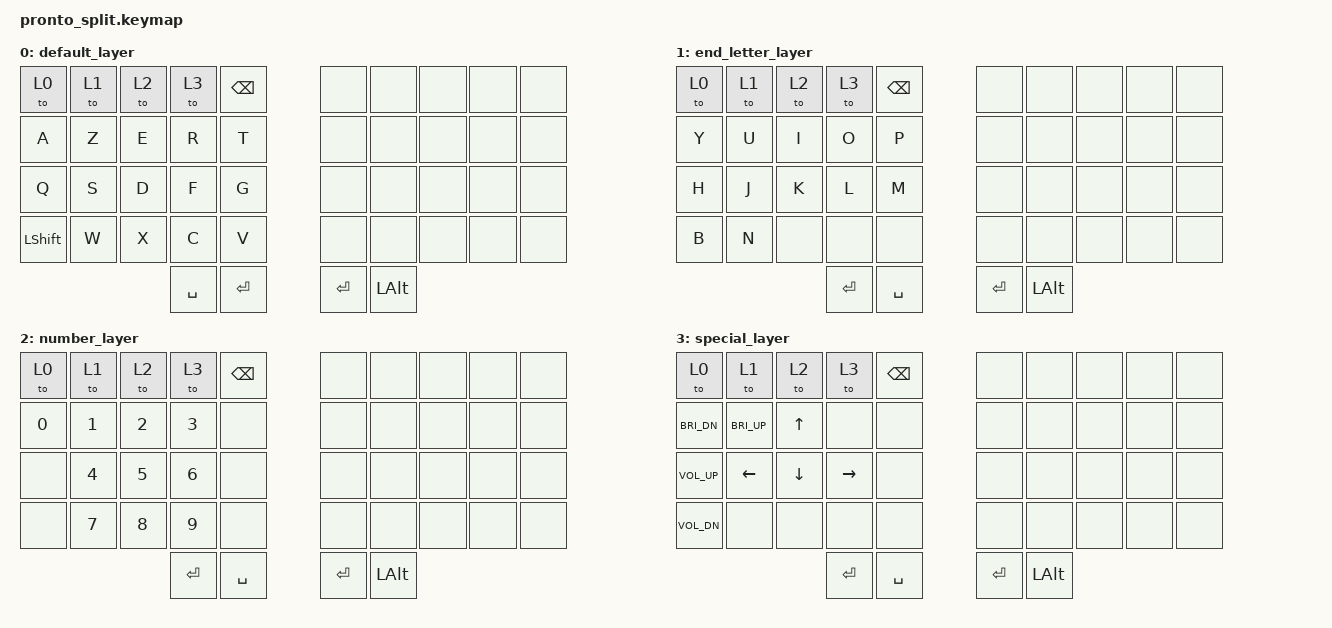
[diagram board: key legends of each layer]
#include <behaviors.dtsi>
#include <dt-bindings/zmk/keys.h>

/ {
    keymap {
        compatible = "zmk,keymap";

        default_layer { // Layer 0
            
            // ||   |   |   |   |   ||       ||   |   |   |   |   ||
            // || A | Z | E | R | T ||       || Y | U | I | O | P ||
            // || Q | S | D | F | G ||       || H | J | K | L | M ||
            // || ↑ | W | X | C | V ||       || B | N | , | . | ^ ||
            //         || ctr | spc ||       || ent | alt ||


            bindings = <
               &to 0 &to 1 &to 2 &to 3 &kp BSPC       &none &none &none &none &none
               &kp A &kp Z &kp E &kp R &kp T        &none &none &none &none &none
               &kp Q &kp S &kp D &kp F &kp G        &none &none &none &none &none
               &kp LSHFT &kp W &kp X &kp C &kp V    &none &none &none &none &none
                            &kp SPACE  &kp ENTER     &kp ENTER &kp LALT
            >;
        };

        end_letter_layer { //Layer 1
            bindings = <
               &to 0 &to 1 &to 2 &to 3 &kp BSPC       &none &none &none &none &none
               &kp Y &kp U &kp I &kp O &kp P        &none &none &none &none &none
               &kp H &kp J &kp K &kp L &kp M        &none &none &none &none &none
               &kp B &kp N &none &none &none        &none &none &none &none &none
                            &kp ENTER &kp SPACE     &kp ENTER &kp LALT
            >;
        };

        number_layer { // Layer 2
            
            bindings = <
               &to 0 &to 1 &to 2 &to 3 &kp BSPC        &none &none &none &none &none
               &kp N0 &kp N1 &kp N2 &kp N3 &none    &none &none &none &none &none
               &none  &kp N4 &kp N5 &kp N6 &none    &none &none &none &none &none
               &none &kp N7 &kp N8 &kp N9 &none     &none &none &none &none &none
                            &kp ENTER &kp SPACE     &kp ENTER &kp LALT
            >;
        };

        special_layer { // Layer 3
            
            bindings = <
               &to 0 &to 1 &to 2 &to 3 &kp BSPC                             &none &none &none &none &none
               &kp C_BRI_DN  &kp C_BRI_UP &kp UP &none &none           &none &none &none &none &none
               &kp C_VOL_UP  &kp LEFT &kp DOWN &kp RIGHT &none           &none &none &none &none &none
               &kp C_VOL_DN &none &none &none &none                     &none &none &none &none &none
                            &kp ENTER &kp SPACE                            &kp ENTER &kp LALT
            >;
        };
    };
 };
